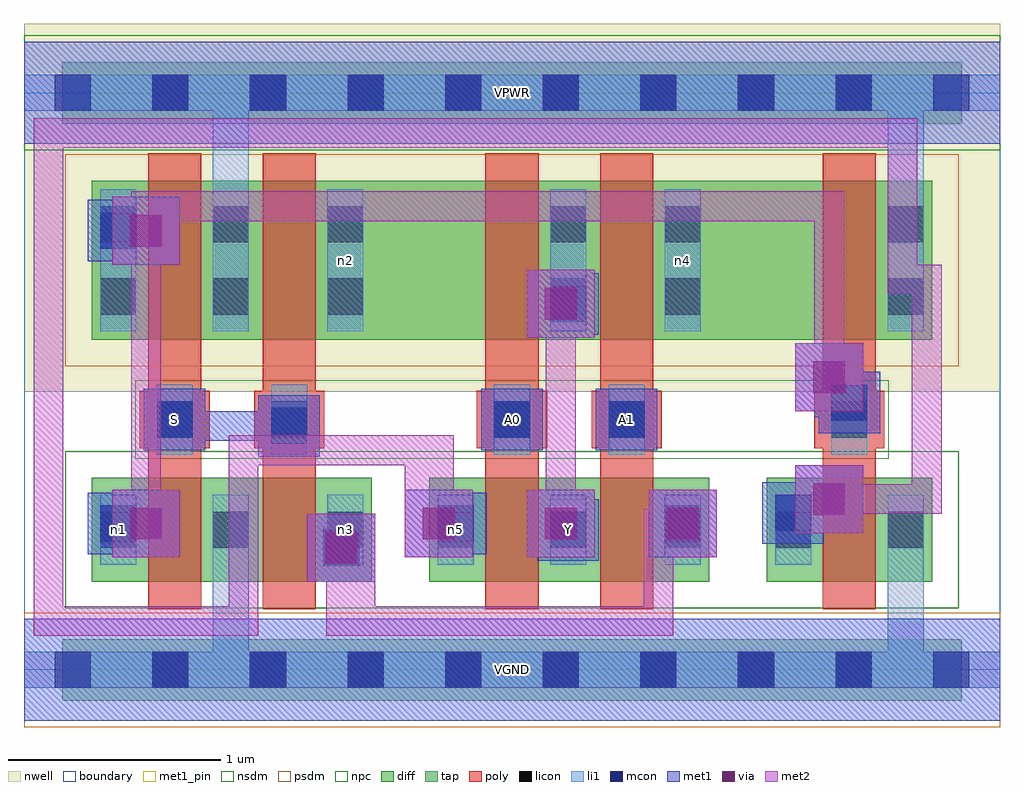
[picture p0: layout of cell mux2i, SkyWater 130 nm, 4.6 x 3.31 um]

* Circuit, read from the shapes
.subckt mux2i A0 A1 S VGND VPWR Y n1 n2 n3 n4 n5
XM1 VGND S n1 VGND sky130_fd_pr__nfet_01v8 w=0.49 l=0.25
XM2 n3 S VGND VGND sky130_fd_pr__nfet_01v8 w=0.49 l=0.25
XM3 Y A0 n5 VGND sky130_fd_pr__nfet_01v8 w=0.49 l=0.25
XM4 n3 A1 Y VGND sky130_fd_pr__nfet_01v8 w=0.49 l=0.25
XM5 VGND n1 n5 VGND sky130_fd_pr__nfet_01v8 w=0.49 l=0.25
XM6 VPWR S n1 VPWR sky130_fd_pr__pfet_01v8 w=0.75 l=0.25
XM7 n2 S VPWR VPWR sky130_fd_pr__pfet_01v8 w=0.75 l=0.25
XM8 Y A0 n2 VPWR sky130_fd_pr__pfet_01v8 w=0.75 l=0.25
XM9 n4 A1 Y VPWR sky130_fd_pr__pfet_01v8 w=0.75 l=0.25
XM10 VPWR n1 n4 VPWR sky130_fd_pr__pfet_01v8 w=0.75 l=0.25
.ends

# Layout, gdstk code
import gdstk
lib = gdstk.Library(unit=1e-6, precision=1e-09)
def R(c, l, rs):  # rectangles x0, y0, x1, y1
    for r in rs: c.add(gdstk.rectangle(r[:2], r[2:], *l))
def A(c, l, x, y, w, h, nx, ny, dx, dy):  # array of equal rectangles
    R(c, l, [(x+i*dx, y+j*dy, x+i*dx+w, y+j*dy+h) for i in range(nx) for j in range(ny)])
nwell = (64, 20)
diff = (65, 20)
tap = (65, 44)
poly = (66, 20)
licon = (66, 44)
li1 = (67, 20)
mcon = (67, 44)
met1_pin = (68, 16)
met1 = (68, 20)
via = (68, 44)
met2 = (69, 20)
nsdm = (93, 44)
psdm = (94, 20)
npc = (95, 20)
boundary = (235, 4)

mux2i = lib.new_cell('mux2i')
R(mux2i, nwell, [(0,1.31,4.6,3.045)])
R(mux2i, diff, [(0.32,0.415,1.64,0.905), (1.91,0.415,3.23,0.905), (3.5,0.415,4.28,0.905), (0.32,1.555,4.28,2.305)])
R(mux2i, tap, [(0.18,-0.145,4.42,0.145), (0.18,2.575,4.42,2.865)])
R(mux2i, poly, [(0.585,0.285,0.835,2.435), (1.125,0.285,1.375,2.435), (2.175,0.285,2.425,2.435), (2.715,0.285,2.965,2.435), (3.765,0.285,4.015,2.435), (0.545,1.045,0.875,1.315), (1.085,1.045,1.415,1.315), (2.135,1.045,2.465,1.315), (2.675,1.045,3.005,1.315), (3.725,1.045,4.055,1.315)])
A(mux2i, licon, 0.605, -0.085, 0.17, 0.17, 8, 2, 0.46, 2.72)
R(mux2i, licon, [(0.36,0.575,0.53,0.745), (0.89,0.575,1.06,0.745), (1.43,0.575,1.6,0.745), (1.95,0.575,2.12,0.745), (2.48,0.575,2.65,0.745), (3.02,0.575,3.19,0.745), (3.54,0.575,3.71,0.745), (4.07,0.575,4.24,0.745), (0.625,1.095,0.795,1.265), (1.165,1.095,1.335,1.265), (2.215,1.095,2.385,1.265), (2.755,1.095,2.925,1.265), (3.805,1.095,3.975,1.265), (0.36,1.675,0.53,1.845), (0.89,1.675,1.06,1.845), (1.43,1.675,1.6,1.845), (2.48,1.675,2.65,1.845), (3.02,1.675,3.19,1.845), (4.07,1.675,4.24,1.845), (0.36,2.015,0.53,2.185), (0.89,2.015,1.06,2.185), (1.43,2.015,1.6,2.185), (2.48,2.015,2.65,2.185), (3.02,2.015,3.19,2.185), (4.07,2.015,4.24,2.185)])
R(mux2i, li1, [(0,-0.085,4.6,0.085), (0.89,-0.085,1.06,0.825), (4.07,-0.085,4.24,0.825), (1.41,0.49,1.6,0.665), (0.36,0.495,0.53,0.825), (0.89,0.495,1.06,0.825), (1.43,0.495,1.6,0.825), (1.95,0.495,2.12,0.825), (2.48,0.495,2.65,0.825), (3.02,0.495,3.19,0.825), (3.54,0.495,3.71,0.825), (4.07,0.495,4.24,0.825), (0.625,1.015,0.795,1.345), (1.165,1.015,1.335,1.345), (2.215,1.015,2.385,1.345), (2.755,1.015,2.925,1.345), (3.805,1.015,3.975,1.345), (0.36,1.595,0.53,2.265), (0.89,1.595,1.06,2.265), (0.89,1.595,1.06,2.805), (1.43,1.595,1.6,2.265), (2.48,1.595,2.65,2.265), (3.02,1.595,3.19,2.265), (4.07,1.595,4.24,2.265), (4.07,1.595,4.24,2.805), (0,2.635,4.6,2.805)])
A(mux2i, mcon, 0.145, -0.085, 0.17, 0.17, 10, 2, 0.46, 2.72)
R(mux2i, mcon, [(1.41,0.49,1.58,0.66), (2.48,0.575,2.65,0.745), (0.36,0.605,0.53,0.775), (1.95,0.605,2.12,0.775), (3.02,0.605,3.19,0.775), (3.54,0.655,3.71,0.825), (1.165,1.065,1.335,1.235), (0.625,1.095,0.795,1.265), (2.215,1.095,2.385,1.265), (2.755,1.095,2.925,1.265), (3.805,1.175,3.975,1.345), (2.48,1.64,2.65,1.81), (0.36,1.985,0.53,2.155)])
R(mux2i, met1_pin, [(0,-0.24,4.6,0.24), (2.42,0.515,2.71,0.805), (0.565,1.035,0.855,1.325), (2.155,1.035,2.445,1.325), (2.695,1.035,2.985,1.325), (0,2.48,4.6,2.96)])
A(mux2i, met1, 1.795, 0.53, 0.32, 0.32, 3, 1, 0.575, 0)
R(mux2i, met1, [(0,-0.24,4.6,0.24), (1.335,0.415,1.655,0.735), (1.35,0.43,1.64,0.72), (2.42,0.515,2.71,0.805), (0.415,0.53,0.735,0.85), (0.3,0.545,0.59,0.835), (1.89,0.545,2.18,0.835), (2.96,0.545,3.25,0.835), (3.48,0.595,3.77,0.885), (0.375,0.62,0.645,0.76), (1.885,0.62,2.105,0.76), (2.46,0.62,2.6,0.76), (3.635,0.645,3.955,0.965), (3.555,0.67,3.865,0.81), (3.725,0.67,3.865,0.875), (1.105,1.005,1.395,1.295), (0.565,1.035,0.855,1.325), (2.155,1.035,2.445,1.325), (2.695,1.035,2.985,1.325), (0.62,1.08,0.76,1.22), (0.62,1.08,1.22,1.22), (1.08,1.08,1.32,1.22), (3.745,1.115,4.035,1.405), (3.725,1.19,3.96,1.33), (3.725,1.19,3.865,1.45), (3.635,1.22,3.955,1.54), (2.37,1.565,2.69,1.885), (2.42,1.58,2.71,1.87), (2.46,1.655,2.635,1.795), (0.415,1.91,0.735,2.23), (0.3,1.925,0.59,2.215), (0.375,2,0.645,2.14), (0,2.48,4.6,2.96)])
A(mux2i, via, 1.88, 0.615, 0.15, 0.15, 3, 1, 0.575, 0)
R(mux2i, via, [(1.42,0.5,1.57,0.65), (0.5,0.615,0.65,0.765), (3.72,0.73,3.87,0.88), (3.72,1.305,3.87,1.455), (2.455,1.65,2.605,1.8), (0.5,1.995,0.65,2.145)])
A(mux2i, met2, 1.795, 0.53, 0.32, 0.32, 3, 1, 0.575, 0)
R(mux2i, met2, [(0.045,0.16,1.105,0.3), (0.045,0.16,0.185,2.6), (0.965,0.16,1.105,1.105), (1.425,0.16,3.06,0.3), (1.425,0.16,1.565,0.645), (2.92,0.16,3.06,0.76), (1.425,0.3,1.655,0.415), (1.335,0.415,1.655,0.735), (0.415,0.53,0.735,0.85), (0.505,0.62,0.645,2.14), (1.885,0.62,2.025,1.105), (2.46,0.62,2.6,1.795), (2.92,0.62,3.175,0.76), (3.635,0.645,3.955,0.965), (3.725,0.735,4.325,0.875), (4.185,0.735,4.325,1.91), (1.795,0.85,2.025,0.965), (0.965,0.965,2.025,1.105), (3.635,1.22,3.955,1.54), (3.725,1.31,3.865,2.255), (2.37,1.565,2.69,1.885), (4.07,1.77,4.325,1.91), (4.07,1.77,4.21,2.6), (0.415,1.91,0.735,2.23), (0.505,2,0.645,2.255), (0.505,2.115,3.865,2.255), (0.045,2.46,4.21,2.6)])
R(mux2i, nsdm, [(0.195,0.29,4.405,1.03), (0,2.45,4.6,2.99)])
R(mux2i, psdm, [(0,-0.27,4.6,0.27), (0.195,1.43,4.405,2.43)])
R(mux2i, npc, [(0.525,0.995,4.075,1.365)])
R(mux2i, boundary, [(0,0,4.6,2.72)])
mux2i.add(gdstk.Label('n1', (0.445,0.66), layer=67, texttype=5))
mux2i.add(gdstk.Label('n3', (1.515,0.66), layer=67, texttype=5))
mux2i.add(gdstk.Label('n5', (2.035,0.66), layer=67, texttype=5))
mux2i.add(gdstk.Label('n2', (1.515,1.93), layer=67, texttype=5))
mux2i.add(gdstk.Label('n4', (3.105,1.93), layer=67, texttype=5))
mux2i.add(gdstk.Label('S', (0.71,1.18), layer=68, texttype=5))
mux2i.add(gdstk.Label('A0', (2.3,1.18), layer=68, texttype=5))
mux2i.add(gdstk.Label('A1', (2.84,1.18), layer=68, texttype=5))
mux2i.add(gdstk.Label('Y', (2.565,0.66), layer=68, texttype=5))
mux2i.add(gdstk.Label('VPWR', (2.3,2.72), layer=68, texttype=5))
mux2i.add(gdstk.Label('VGND', (2.3,0), layer=68, texttype=5))
mux2i.add(gdstk.Label('S', (0.71,1.18), layer=68, texttype=16))
mux2i.add(gdstk.Label('A0', (2.3,1.18), layer=68, texttype=16))
mux2i.add(gdstk.Label('A1', (2.84,1.18), layer=68, texttype=16))
mux2i.add(gdstk.Label('Y', (2.565,0.66), layer=68, texttype=16))
mux2i.add(gdstk.Label('VPWR', (2.3,2.72), layer=68, texttype=16))
mux2i.add(gdstk.Label('VGND', (2.3,0), layer=68, texttype=16))

lib.write_gds('mux2i.gds')
